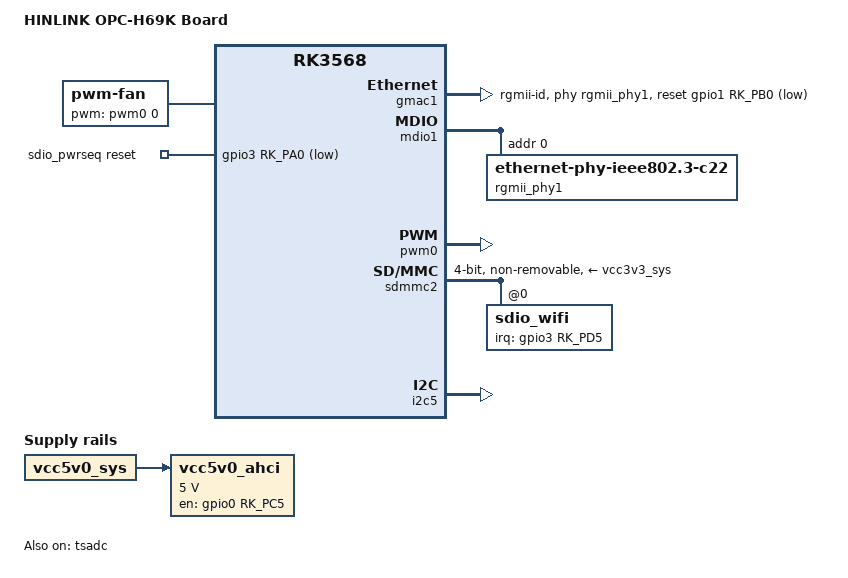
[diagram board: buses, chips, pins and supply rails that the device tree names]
// SPDX-License-Identifier: (GPL-2.0+ OR MIT)
// Copyright (c) 2023 AmadeusGhost <amadeus@jmu.edu.cn>

/dts-v1/;

#include "rk3568-hinlink-opc.dtsi"

/ {
	model = "HINLINK OPC-H69K Board";
	compatible = "hinlink,opc-h69k", "rockchip,rk3568";

	aliases {
		ethernet0 = &gmac1;
	};

	//modem_reset: modem-reset {
	//	status = "okay";
	//	compatible = "daocaoren,modem-switch";
	//	pinctrl-names = "default";
	//	pinctrl-0 = <&modem_reset_pin>;
	//	// 这里保持 GPIO_ACTIVE_LOW 不变，因为你的硬件特性就是低电平有效
	//	gpio = <&gpio0 RK_PC0 GPIO_ACTIVE_LOW>;
	//	// 【关键修改】改为 0
	//	// 逻辑 0 -> 内核看到 ACTIVE_LOW 标志 -> 输出物理高电平 -> 硬件有电
	//	gpio-init-level = <1>; 
	//	output-high; 
	//};

	//gpio-export {
	//	status="okay";
	//	compatible = "neardi,gpio-export";
	//	pinctrl-names = "default";
	//	neardi,gpio-name = "gpio_export";
	//	/**
	//	* below gpio's name were based on neardi ld160 board, please see the  declarelation of board.
	//	*/
	//	neardi,gpio-export =  <&gpio0 RK_PC0 GPIO_ACTIVE_HIGH>;
	//};

	fan: pwm-fan {
		compatible = "pwm-fan";
		cooling-levels = <0 90 120 165 210 255>;
		#cooling-cells = <2>;
		pwms = <&pwm0 0 50000 0>;
	};

	vcc5v0_ahci: vcc5v0-ahci {
		compatible = "regulator-fixed";
		enable-active-high;
		gpio = <&gpio0 RK_PC5 GPIO_ACTIVE_HIGH>;
		pinctrl-names = "default";
		pinctrl-0 = <&sata_pwr_en>;
		regulator-min-microvolt = <5000000>;
		regulator-max-microvolt = <5000000>;
		regulator-name = "vcc5v0_ahci";
		vin-supply = <&vcc5v0_sys>;
	};

	sdio_pwrseq: sdio-pwrseq {
		compatible = "mmc-pwrseq-simple";
		clocks = <&rk809 1>;
		clock-names = "ext_clock";
		pinctrl-names = "default";
		pinctrl-0 = <&wifi_enable>;
		post-power-on-delay-ms = <300>;
		power-off-delay-us = <5000000>;
		reset-gpios = <
			&gpio3 RK_PA0 GPIO_ACTIVE_LOW
		>;
	};

};

&tsadc {
	status = "okay";
	rockchip,hw-tshut-mode = <0>; // 0: 温度达到阈值时关闭系统
	// rockchip,hw-tshut-polarity = <1>; // 1: 高电平有效
};


/* H69K fan thermal: 4 steps 45/55/65/75C, hysteresis 4C, active.
 * cpu_alert0/1 (70/75C) and cpu_crit (95C) come from rk3568.dtsi.
 * cooling-maps must NOT be named map0/map1 - the base dtsi already has
 * those names and dtc merges same-name nodes silently. */
&cpu_thermal {
	trips {
		fan_trip1: fan-trip1 {
			temperature = <45000>;
			hysteresis = <4000>;
			type = "active";
		};
		fan_trip2: fan-trip2 {
			temperature = <55000>;
			hysteresis = <4000>;
			type = "active";
		};
		fan_trip3: fan-trip3 {
			temperature = <65000>;
			hysteresis = <4000>;
			type = "active";
		};
		fan_trip4: fan-trip4 {
			temperature = <75000>;
			hysteresis = <4000>;
			type = "active";
		};
	};

	cooling-maps {
		fan-map1 {
			trip = <&fan_trip1>;
			cooling-device = <&fan 0 1>;
		};
		fan-map2 {
			trip = <&fan_trip2>;
			cooling-device = <&fan 1 2>;
		};
		fan-map3 {
			trip = <&fan_trip3>;
			cooling-device = <&fan 2 3>;
		};
		fan-map4 {
			trip = <&fan_trip4>;
			cooling-device = <&fan 3 4>;
		};
	};
};


&gmac1 {
	assigned-clocks = <&cru SCLK_GMAC1_RX_TX>, <&cru SCLK_GMAC1>;
	assigned-clock-parents = <&cru SCLK_GMAC1_RGMII_SPEED>;
	assigned-clock-rates = <0>, <125000000>;
	clock_in_out = "output";
	phy-mode = "rgmii-id";
	pinctrl-names = "default";
	pinctrl-0 = <&gmac1m1_miim
		     &gmac1m1_tx_bus2
		     &gmac1m1_rx_bus2
		     &gmac1m1_rgmii_clk
		     &gmac1m1_rgmii_bus>;
	snps,reset-gpio = <&gpio1 RK_PB0 GPIO_ACTIVE_LOW>;
	snps,reset-active-low;
	snps,reset-delays-us = <0 20000 100000>;
	tx_delay = <0x4f>;
	rx_delay = <0x26>;
	phy-handle = <&rgmii_phy1>;
	status = "okay";
};

&mdio1 {
	rgmii_phy1: ethernet-phy@0 {
		compatible = "ethernet-phy-ieee802.3-c22";
		reg = <0x0>;
	};
};



&pinctrl {
    
	pcie {

		// 新增：pcie3x1 复位引脚配置
		
        // 新增：pcie3x2 复位引脚配置
    };

	//modem {
	//	modem_reset_pin: modem-reset-pin {
	//		rockchip,pins = <0 RK_PC0 RK_FUNC_GPIO &pcfg_pull_up>;
	//	};
	//};

	sata {
		sata_pwr_en: sata-pwr-en {
			rockchip,pins = <0 RK_PC5 RK_FUNC_GPIO &pcfg_pull_none>;
		};
	};

	sdio-pwrseq {
		wifi_enable: wifi-enable {
			rockchip,pins = <3 RK_PA0 RK_FUNC_GPIO &pcfg_pull_none>;
		};

		wifi_host_wake: wifi-host-wake {
			rockchip,pins = <3 RK_PD5 RK_FUNC_GPIO &pcfg_pull_down>;
		};
	};
};

&pwm0 {
	status = "okay";
};

&sata0 {
	target-supply = <&vcc5v0_ahci>;
};


&sdmmc2 {
	bus-width = <4>;
	disable-wp;
	cap-sd-highspeed;
	cap-sdio-irq;
	keep-power-in-suspend;
	mmc-pwrseq = <&sdio_pwrseq>;
	non-removable;
	pinctrl-names = "default";
	pinctrl-0 = <&sdmmc2m0_bus4 &sdmmc2m0_cmd &sdmmc2m0_clk>;
	sd-uhs-sdr12;
	sd-uhs-sdr25;
	sd-uhs-sdr50;
	sd-uhs-sdr104;
	vmmc-supply = <&vcc3v3_sys>;
	vqmmc-supply = <&vcc_1v8>;
	status = "okay";

	sdio_wifi@0 {
		reg = <0>;
		interrupt-parent = <&gpio3>;
		interrupts = <RK_PD5 IRQ_TYPE_LEVEL_HIGH>;
		interrupt-names = "host-wake";
		pinctrl-names = "default";
		pinctrl-0 = <&wifi_host_wake>;
	};

};

&uart0 {
    status = "disabled";
};

/* 新增：OLED(ssd1306) 挂在 i2c5 上，内核要出 /dev/i2c-5 */
&i2c5 {
	status = "okay";
};




// 1. 给&pcie3x1和&pcie3x2添加枚举超时延长配置（6.1+内核支持）

/* ==== 2026-10-15 对齐"能用的那版固件"（厂商 dtsi 风格）====
 * 上游 rk3568-hinlink-opc.dtsi 把 i2c2 打开了，而且用的是 i2c2m1：
 *   i2c2m1_scl = gpio0 RK_PC4 = PCIe 3.3V 使能脚
 *   i2c2m1_sda = gpio0 RK_PC5 = SATA 5V 使能脚
 * 厂商 dtsi 里根本没有 &i2c2（保持 disabled），本板也没有任何 i2c2 器件，
 * 所以这里关掉它，避免和 PCIe 供电抢引脚。
 */
&i2c2 {
	/delete-property/ pinctrl-names;
	/delete-property/ pinctrl-0;
	status = "disabled";
};

/* 厂商那版给 PCIe 3.3V 加了 5ms 上电延时，这里保持一致 */
&vcc3v3_pi6c_05 {
	startup-delay-us = <5000>;
};
